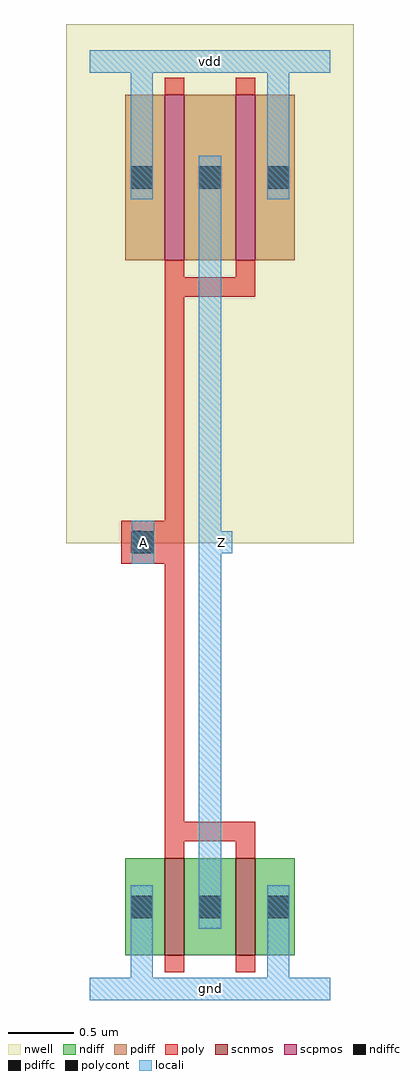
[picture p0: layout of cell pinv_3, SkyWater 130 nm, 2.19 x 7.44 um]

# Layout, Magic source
magic
tech sky130A
magscale 1 2
<< nwell >>
rect -36 679 402 1471
<< poly >>
rect 114 714 144 1055
rect 81 648 144 714
rect 114 255 144 648
<< locali >>
rect 0 1397 366 1431
rect 62 1204 96 1397
rect 64 648 98 714
rect 166 698 200 1270
rect 270 1204 304 1397
rect 166 664 217 698
rect 166 92 200 664
rect 62 17 96 92
rect 270 17 304 92
rect 0 -17 366 17
use pmos_m2_w1_260_sli_dli_da_p  pmos_m2_w1_260_sli_dli_da_p_0
transform 1 0 54 0 1 1111
box -59 -56 317 306
use contact_12  contact_12_0
transform 1 0 48 0 1 648
box 0 0 66 66
use nmos_m2_w0_740_sli_dli_da_p  nmos_m2_w0_740_sli_dli_da_p_0
transform 1 0 54 0 1 51
box 0 -26 258 204
<< labels >>
rlabel corelocali s 183 0 183 0 4 gnd
rlabel corelocali s 200 681 200 681 4 Z
rlabel corelocali s 183 1414 183 1414 4 vdd
rlabel corelocali s 81 681 81 681 4 A
<< properties >>
string FIXED_BBOX 0 0 366 1414
<< end >>

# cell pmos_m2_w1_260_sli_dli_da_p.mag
magic
tech sky130A
magscale 1 2
<< nwell >>
rect -54 -54 312 306
<< scpmos >>
rect 60 0 90 252
rect 168 0 198 252
<< pdiff >>
rect 0 0 60 252
rect 90 0 168 252
rect 198 0 258 252
<< poly >>
rect 60 252 90 278
rect 168 252 198 278
rect 60 -26 90 0
rect 168 -26 198 0
rect 60 -56 198 -26
<< locali >>
rect 8 93 42 159
rect 112 93 146 159
rect 216 93 250 159
use contact_11  contact_11_2
transform 1 0 0 0 1 93
box -59 -51 109 117
use contact_11  contact_11_1
transform 1 0 104 0 1 93
box -59 -51 109 117
use contact_11  contact_11_0
transform 1 0 208 0 1 93
box -59 -51 109 117
<< labels >>
rlabel poly s 129 -41 129 -41 4 G
rlabel corelocali s 233 126 233 126 4 S
rlabel corelocali s 25 126 25 126 4 S
rlabel corelocali s 129 126 129 126 4 D
<< properties >>
string FIXED_BBOX -54 -54 312 306
<< end >>

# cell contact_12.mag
magic
tech sky130A
<< poly >>
rect 0 25 33 33
rect 0 8 8 25
rect 25 8 33 25
rect 0 0 33 8
<< polycont >>
rect 8 8 25 25
<< locali >>
rect 8 25 25 33
rect 8 0 25 8
<< properties >>
string FIXED_BBOX -10 -10 43 43
<< end >>

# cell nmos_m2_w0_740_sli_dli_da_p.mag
magic
tech sky130A
magscale 1 2
<< scnmos >>
rect 60 0 90 148
rect 168 0 198 148
<< ndiff >>
rect 0 0 60 148
rect 90 0 168 148
rect 198 0 258 148
<< poly >>
rect 60 174 198 204
rect 60 148 90 174
rect 168 148 198 174
rect 60 -26 90 0
rect 168 -26 198 0
<< locali >>
rect 8 41 42 107
rect 112 41 146 107
rect 216 41 250 107
use contact_17  contact_17_2
transform 1 0 0 0 1 41
box 0 0 50 66
use contact_17  contact_17_1
transform 1 0 104 0 1 41
box 0 0 50 66
use contact_17  contact_17_0
transform 1 0 208 0 1 41
box 0 0 50 66
<< labels >>
rlabel poly s 129 189 129 189 4 G
rlabel corelocali s 233 74 233 74 4 S
rlabel corelocali s 25 74 25 74 4 S
rlabel corelocali s 129 74 129 74 4 D
<< properties >>
string FIXED_BBOX -25 -26 283 174
<< end >>

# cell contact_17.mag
magic
tech sky130A
<< ndiff >>
rect 0 25 25 31
rect 0 8 4 25
rect 21 8 25 25
rect 0 2 25 8
<< ndiffc >>
rect 4 8 21 25
<< locali >>
rect 4 25 21 33
rect 4 0 21 8
<< properties >>
string FIXED_BBOX -12 -10 37 43
<< end >>

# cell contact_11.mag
magic
tech sky130A
magscale 1 2
<< nwell >>
rect -59 -51 109 117
<< pdiff >>
rect 0 50 50 62
rect 0 16 8 50
rect 42 16 50 50
rect 0 4 50 16
<< pdiffc >>
rect 8 16 42 50
<< locali >>
rect 8 50 42 66
rect 8 0 42 16
<< properties >>
string FIXED_BBOX -59 -51 109 117
<< end >>
